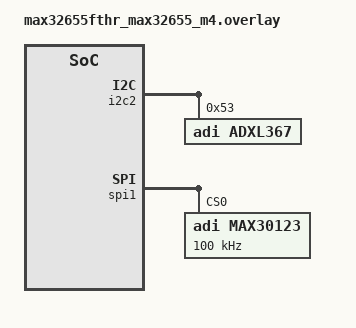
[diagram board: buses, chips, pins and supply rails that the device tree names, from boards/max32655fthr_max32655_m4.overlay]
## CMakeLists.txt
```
# Copyright (c) 2024 Analog Devices, Inc.
#
# SPDX-License-Identifier: Apache-2.0

cmake_minimum_required(VERSION 3.20.0)
find_package(Zephyr REQUIRED HINTS $ENV{ZEPHYR_BASE})
project(adi_cgm)

target_sources(app PRIVATE
  src/main.c
  src/database.c
  src/services/accs.c
  src/services/bas_monitor.c
  src/services/ecs_monitor.c
  src/services/adi_shell.c
  src/led_ind/led_ind.c
)
```

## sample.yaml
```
sample:
  name: ADI Continuous Glucose Monitor Reference Design
  description: Demonstrates an example CGM device using Zephyr
tests:
  sample.adi.cgm:
    harness: bluetooth
    platform_allow:
      - max32655fthr/max32655/m4
      - max32657evkit/max32657
    tags: bluetooth
    integration_platforms:
      - max32655fthr/max32655/m4
      - max32657evkit/max32657
```

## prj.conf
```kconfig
# Copyright (c) 2024 Analog Devices, Inc.
#
# SPDX-License-Identifier: Apache-2.0

# Increased stack due to settings API usage
CONFIG_SYSTEM_WORKQUEUE_STACK_SIZE=2048
CONFIG_MAIN_STACK_SIZE=2048
CONFIG_INIT_STACKS=y
CONFIG_THREAD_STACK_INFO=y
CONFIG_THREAD_NAME=y

# Bluetooth config
CONFIG_BT=y
CONFIG_LOG=y
CONFIG_LOG_MODE_IMMEDIATE=y
CONFIG_BT_SMP=y
CONFIG_BT_GATT_CLIENT=y
CONFIG_BT_SIGNING=y
CONFIG_BT_PERIPHERAL=y
CONFIG_BT_ATT_PREPARE_COUNT=5
CONFIG_BT_PRIVACY=y
CONFIG_BT_KEYS_OVERWRITE_OLDEST=y
CONFIG_BT_SETTINGS=y
CONFIG_FLASH=y
CONFIG_FLASH_MAP=y
CONFIG_NVS=y
CONFIG_SETTINGS=y
CONFIG_BT_BONDABLE=y
CONFIG_BT_MAX_CONN=1
CONFIG_BT_FIXED_PASSKEY=y

# DIS config
CONFIG_BT_DIS=y
CONFIG_BT_DEVICE_NAME="ADI CGM"
CONFIG_BT_DEVICE_NAME_DYNAMIC=y
CONFIG_BT_DIS_MANUF="Analog Devices, Inc."
CONFIG_BT_DIS_MODEL="MAX32xxx CGM"
CONFIG_BT_DIS_HW_REV=y
CONFIG_BT_DIS_HW_REV_STR="RevA"
CONFIG_BT_DIS_FW_REV=y
CONFIG_BT_DIS_FW_REV_STR="Ver 0.4"
CONFIG_BT_DIS_SW_REV=y
CONFIG_BT_DIS_SW_REV_STR="Ver 0.2"
CONFIG_BT_DIS_UDI=y
CONFIG_BT_DIS_UDI_LABEL_STR="Zephyr Test UDI Label"
CONFIG_BT_DIS_UDI_DI_STR="(01)0123456789ABCD(11)241125(17)341125(10)A1234(21)0123456789"
CONFIG_BT_DIS_UDI_ISSUER_STR="1.3.6.1.4.1.99999"
CONFIG_BT_DIS_UDI_AUTHORITY_STR="1.3.6.1.4.1.99999"

# BAS config
CONFIG_BT_BAS=y

# CGMS config
CONFIG_BT_CGMS=y
CONFIG_BT_CGMS_INTERVAL=1
CONFIG_BT_CGMS_TYPE=9
CONFIG_BT_CGMS_SAMPLE_LOCATION=5
CONFIG_BT_CGMS_EXPECTED_RUNTIME=170
CONFIG_BT_CGMS_LOG_LEVEL_DBG=y

# Shell config
CONFIG_SHELL=y
CONFIG_SHELL_BACKEND_SERIAL_INIT_PRIORITY=10
CONFIG_SHELL_BACKEND_BLE=y
CONFIG_SHELL_BACKEND_BLE_DEBUG=n

# Sensor config
CONFIG_SENSOR=y
CONFIG_I3C=y
CONFIG_ADXL367=y
CONFIG_MAX30123=y
```

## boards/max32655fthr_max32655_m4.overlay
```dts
/*
 * Copyright (c) 2024 Analog Devices, Inc.
 *
 * SPDX-License-Identifier: Apache-2.0
 */

/ {
	aliases {
		pb = &pb2;
		led = &led3;
	};
};

&sram2 {
	reg = <0x20010000 DT_SIZE_K(64)>;
};

i2c: &i2c2 {
	adxl367: adxl367@53 {
		compatible = "adi,adxl367";
		reg = <0x53>;
		status = "okay";
	};
};

spi: &spi1 {
	max30123: max30123@0 {
		compatible = "adi,max30123";
		reg = <0x0>;
		status = "okay";
		spi-max-frequency = <DT_FREQ_K(100)>;
		auto-clk-div = <10240>;
		daca-code = <1000>;
		dacb-code = <1000>;
		dac-enable;
		we1-amp-enable;
		we1-swb;
		we1-ios-mode;
		we1-offset-sel = <2>;
		adc-fs-we1 = <1>;
		gr1-enable;
		m0-mode = <1>;
		m1-mode = <1>;
		m0-i-conv-type = <2>;
		m0-conv-time = <5>;
		m1-i-conv-type = <2>;
		m1-conv-time = <5>;
		auto;
		convert;
	};
};
```

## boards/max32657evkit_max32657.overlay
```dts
/*
 * Copyright (c) 2024 Analog Devices, Inc.
 *
 * SPDX-License-Identifier: Apache-2.0
 */

/ {
	aliases {
		pb = &pb1;
		led = &led1;
	};
};

&i3c0 {
	adxl367: adxl367@530000000000000000 {
		compatible = "adi,adxl367";
		reg = <0x53 0x00 0x00>;
		status = "okay";
	};
};
```

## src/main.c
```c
/*
 * Copyright (C) 2024 Analog Devices, Inc.
 *
 * SPDX-License-Identifier: Apache-2.0
 */

#include <zephyr/kernel.h>
#include <zephyr/logging/log.h>
#include <zephyr/device.h>
#include <zephyr/devicetree.h>
#include <zephyr/settings/settings.h>
#include <zephyr/bluetooth/bluetooth.h>
#include <zephyr/bluetooth/hci.h>
#include <zephyr/bluetooth/gap.h>
#include <zephyr/bluetooth/uuid.h>
#include <zephyr/bluetooth/gatt.h>
#include <zephyr/bluetooth/conn.h>
#include <zephyr/bluetooth/services/cgms.h>
#include <zephyr/drivers/sensor.h>
#include <zephyr/drivers/gpio.h>

#include "services/accs.h"
#include "services/ecs_monitor.h"
#include "led_ind/led_ind.h"
#include "database.h"

LOG_MODULE_REGISTER(adi_cgm, LOG_LEVEL_INF);

/* GPIO */
#define BUTTON_NODE DT_ALIAS(pb)
static const struct gpio_dt_spec button = GPIO_DT_SPEC_GET_OR(BUTTON_NODE, gpios, {0});
static struct gpio_callback button_cb_data;
K_SEM_DEFINE(button_sem, 0, 1);

/* Next glucose reading */
static uint16_t glucose_concentration;

/* Bluetooth declarations */
#define FIXED_PASSKEY 555555
static bt_addr_le_t stored_bond;
static struct bt_conn *active_conn;

static const struct bt_data ad[] = {
	BT_DATA_BYTES(BT_DATA_FLAGS, (BT_LE_AD_GENERAL | BT_LE_AD_NO_BREDR)),
	BT_DATA_BYTES(BT_DATA_UUID16_ALL, BT_UUID_16_ENCODE(BT_UUID_CGMS_VAL),
		      BT_UUID_16_ENCODE(BT_UUID_DIS_VAL))};

static const struct bt_data sd[] = {
	BT_DATA(BT_DATA_NAME_COMPLETE, CONFIG_BT_DEVICE_NAME, sizeof(CONFIG_BT_DEVICE_NAME) - 1),
};

static void bond_info(const struct bt_bond_info *info, void *user_data);
static void on_connected(struct bt_conn *conn, uint8_t err)
{
	if (err) {
		LOG_INF("Connection failed (err %u)", err);
		return;
	}

	char addr[BT_ADDR_LE_STR_LEN];

	bt_addr_le_to_str(bt_conn_get_dst(conn), addr, sizeof(addr));

	LOG_INF("Connected: %s", addr);

	active_conn = bt_conn_ref(conn);

	const bt_addr_le_t tmp_addr = {0};

	bt_foreach_bond(BT_ID_DEFAULT, bond_info, (void *)&tmp_addr);

	/* Check if this connection is our bonded device */
	if (!bt_addr_le_cmp(&tmp_addr, bt_conn_get_dst(conn))) {
		LOG_INF("Connected to bonded device");
		set_led_state(LED_IND_CONNECTED);
		return;
	} else if (!bt_addr_le_cmp(&tmp_addr, BT_ADDR_LE_ANY)) {
		LOG_INF("No bonded device, pairing with new device");
		bt_conn_set_security(conn, BT_SECURITY_L4);
	} else {
		LOG_INF("Unknown device, disconnecting");
		bt_conn_disconnect(conn, BT_HCI_ERR_REMOTE_USER_TERM_CONN);
	}
}

static void on_disconnected(struct bt_conn *conn, uint8_t reason)
{
	LOG_INF("Disconnected (reason %u)", reason);

	set_led_state(LED_IND_SEARCHING);

	bt_conn_unref(active_conn);
	active_conn = NULL;
}

static void on_recycled(void)
{
	int err = bt_le_adv_start(BT_LE_ADV_CONN_FAST_1, ad, ARRAY_SIZE(ad), sd, ARRAY_SIZE(sd));

	if (err) {
		LOG_WRN("Advertising failed to start (err %d)", err);
	}
}

/* Callback structs/definitions */
BT_CONN_CB_DEFINE(conn_callbacks) = {
	.connected = on_connected,
	.disconnected = on_disconnected,
	.recycled = on_recycled,
};

static void auth_passkey_display(struct bt_conn *conn, unsigned int passkey)
{
	char addr[BT_ADDR_LE_STR_LEN];

	bt_addr_le_to_str(bt_conn_get_dst(conn), addr, sizeof(addr));

	LOG_INF("Passkey for %s: %06u", addr, passkey);
}

static void auth_cancel(struct bt_conn *conn)
{
	char addr[BT_ADDR_LE_STR_LEN];

	bt_addr_le_to_str(bt_conn_get_dst(conn), addr, sizeof(addr));

	LOG_INF("Auth cancelled %s", addr);
}

static struct bt_conn_auth_cb auth_cb_display = {
	.passkey_display = auth_passkey_display,
	.cancel = auth_cancel,
};

static void pairing_complete(struct bt_conn *conn, bool bonded)
{
	char addr[BT_ADDR_LE_STR_LEN];

	bt_addr_le_to_str(bt_conn_get_dst(conn), addr, sizeof(addr));

	if (bonded) {
		LOG_INF("Paired with %s", addr);
		bt_addr_le_copy(&stored_bond, bt_conn_get_dst(conn));
		set_led_state(LED_IND_CONNECTED);
	} else {
		LOG_INF("Pairing failed with %s", addr);
	}
}

static void pairing_failed(struct bt_conn *conn, enum bt_security_err reason)
{
	char addr[BT_ADDR_LE_STR_LEN];

	bt_addr_le_to_str(bt_conn_get_dst(conn), addr, sizeof(addr));

	bt_conn_disconnect(conn, BT_HCI_ERR_AUTH_FAIL);

	LOG_INF("Pairing failed with %s (reason %u)", addr, reason);
}

static void bond_deleted(uint8_t id, const bt_addr_le_t *peer)
{
	char addr[BT_ADDR_LE_STR_LEN];

	bt_addr_le_to_str(peer, addr, sizeof(addr));

	LOG_INF("Bond deleted: %s", addr);
}

static struct bt_conn_auth_info_cb auth_cb_info = {
	.pairing_complete = pairing_complete,
	.pairing_failed = pairing_failed,
	.bond_deleted = bond_deleted,
};

static void bond_info(const struct bt_bond_info *info, void *user_data)
{
	char addr[BT_ADDR_LE_STR_LEN];

	bt_addr_le_to_str(&(info->addr), addr, sizeof(addr));

	LOG_INF("Loading Bonded Device: %s", addr);
	bt_addr_le_copy((bt_addr_le_t *)user_data, &info->addr);
}

static int clear_bonds(void)
{
	int err;

	err = bt_unpair(BT_ID_DEFAULT, BT_ADDR_LE_ANY);
	if (err) {
		LOG_ERR("Failed to clear bonds (err %d)", err);
		return -1;
	}

	bt_addr_le_copy(&stored_bond, BT_ADDR_LE_ANY);

	if (active_conn) {
		bt_conn_unref(active_conn);
		active_conn = NULL;
	}

	return 0;
}

static void activate_pairing(void)
{
	int err = 0;
	int reset = active_conn ? 0 : 1;

	/* Clear bonds if any exist */
	if (bt_addr_le_cmp(&stored_bond, BT_ADDR_LE_ANY)) {
		if (clear_bonds()) {
			LOG_ERR("Failed to clear bonds");
			return;
		}
	}

	if (reset) {
		err = bt_le_adv_start(BT_LE_ADV_CONN_FAST_1, ad, ARRAY_SIZE(ad), sd,
				      ARRAY_SIZE(sd));
	}

	if (err) {
		switch (err) {
		case -ENOMEM:
			err = bt_le_adv_stop();
			if (err) {
				LOG_ERR("Failed to stop advertising (err %d)", err);
				return;
			}
			err = bt_le_adv_start(BT_LE_ADV_CONN_FAST_1, ad, ARRAY_SIZE(ad), sd,
						ARRAY_SIZE(sd));
			if (err) {
				LOG_ERR("Failed to start advertising after stop (err %d)", err);
				return;
			}
		break;
		case -EALREADY:
			/* Do nothing, already advertising */
		break;
		default:
			LOG_ERR("Advertising failed to start (err %d)", err);
			return;
		}
	}

	set_led_state(LED_IND_SEARCHING);

	LOG_INF("Pairing activated");
}

/* Glucose Concetration Getter Callback */
static int get_glucose(uint16_t *glucose_conc)
{
	*glucose_conc = glucose_concentration;
	return 0;
}

static void button_pressed(const struct device *dev, struct gpio_callback *cb, uint32_t pins)
{
	k_sem_give(&button_sem);
}

static int init_button(void)
{
	int err;

	err = gpio_is_ready_dt(&button);
	if (!err) {
		LOG_ERR("Button not ready");
		return -1;
	}

	err = gpio_pin_configure_dt(&button, GPIO_INPUT);
	if (err) {
		LOG_ERR("Button failed to configure");
		return err;
	}

	err = gpio_pin_interrupt_configure_dt(&button, GPIO_INT_EDGE_TO_ACTIVE);
	if (err) {
		LOG_ERR("Failed to configure interrupt on %s pin %d\n", button.port->name,
			button.pin);
		return err;
	}

	gpio_init_callback(&button_cb_data, button_pressed, BIT(button.pin));

	err = gpio_add_callback(button.port, &button_cb_data);
	if (err) {
		LOG_ERR("Failed to add callback");
		return err;
	}

	return 0;
}

static int init_bt(void)
{
	int err;

	err = bt_enable(NULL);
	if (err) {
		LOG_ERR("Bluetooth init failed (err %d)", err);
		return err;
	}

	if (IS_ENABLED(CONFIG_SETTINGS)) {
		err = settings_load();
		if (err) {
			LOG_ERR("Failed to load settings!");
			return err;
		}
	}

	/* Copy restored bond data to global variable */
	bt_foreach_bond(BT_ID_DEFAULT, bond_info, (void *)&stored_bond);

#ifdef CONFIG_BT_FIXED_PASSKEY
	err = bt_passkey_set(FIXED_PASSKEY);
	if (err) {
		LOG_ERR("Failed to set fixed passkey!");
		return err;
	}
#endif

	err = bt_conn_auth_cb_register(&auth_cb_display);
	if (err) {
		LOG_ERR("Failed to register auth display callback!");
		return err;
	}

	err = bt_conn_auth_info_cb_register(&auth_cb_info);
	if (err) {
		LOG_ERR("Failed to register auth info callback!");
		return err;
	}

	err = bt_set_name(CONFIG_BT_DEVICE_NAME);
	if (err) {
		LOG_ERR("Unable to set device name!");
		return err;
	}

	err = bt_le_adv_start(BT_LE_ADV_CONN_FAST_1, ad, ARRAY_SIZE(ad), sd, ARRAY_SIZE(sd));
	if (err) {
		LOG_ERR("Advertising failed to start (err %d)", err);
		return err;
	}

	return 0;
}

static int init_sensors(void)
{
	int err;

	err = device_is_ready(adxl367_dev);
	if (!err) {
		LOG_INF("sensor: adxl367_dev not ready. (err %d)", err);
		return -1;
	}

	err = device_is_ready(max30123_dev);
	if (!err) {
		LOG_INF("sensor: max30123_dev not ready. (err %d)", err);
		return -1;
	}

	return 0;
}

static int init_peripherals(void)
{
	int err;

	err = init_button();
	if (err) {
		return err;
	}

	err = init_sensors();
	if (err) {
		return err;
	}

	err = init_bt();
	if (err) {
		return err;
	}

	return 0;
}

int main(void)
{
	int err;

	err = k_thread_name_set(k_current_get(), "main");
	if (err) {
		LOG_ERR("Failed to set thread name");
		return err;
	}

	/* 1. Initialize peripherals */
	err = init_peripherals();
	if (err) {
		LOG_ERR("Failed initializing pheripherals");
		return -1;
	}
	set_led_state(LED_IND_DEV_READY);

	/* 2. Activate BLE connectivity, and load bonded device */
	char addr[BT_ADDR_LE_STR_LEN];

	bt_addr_le_to_str(&stored_bond, addr, sizeof(addr));
	LOG_INF("Loaded Bonded Device: %s", addr);

	/* 3. Initialize services */
	init_ecs_monitor_thread(&glucose_concentration);

	struct bt_cgms_callbacks cgms_callbacks = {
		.get_glucose_conc_cb = get_glucose,
		.add_record_cb = db_add_record,
		.get_record_cb = db_get_record,
	};

	err = bt_cgms_init(cgms_callbacks);
	if (err) {
		LOG_ERR("Unable to initialize CGMS (err %d)", err);
		return err;
	}

	/* 4. Set LED indicator to search */
	set_led_state(LED_IND_SEARCHING);

	while (1) {
		k_sem_take(&button_sem, K_FOREVER);
		activate_pairing();
	}
}
```

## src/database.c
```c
/*
 * Copyright (c) 2024 Analog Devices, Inc.
 *
 * SPDX-License-Identifier: Apache-2.0
 */

#include <errno.h>
#include <zephyr/kernel.h>
#include <zephyr/logging/log.h>

#include "database.h"

LOG_MODULE_REGISTER(database, CONFIG_BT_SERVICE_LOG_LEVEL);

#define MAX_NUM_RECORDS 400

static cgm_measurement_t database[MAX_NUM_RECORDS] = {0};
static uint16_t curr_idx;

int db_add_record(const cgm_measurement_t record)
{
	if (curr_idx >= MAX_NUM_RECORDS) {
		curr_idx = 0;
	}

	database[curr_idx] = record;
	curr_idx++;

	return 0;
}

int db_get_record(cgm_measurement_t *record, uint16_t record_idx)
{
	if (record_idx > curr_idx) {
		LOG_ERR("Record index: %d out of bounds > %d", record_idx, curr_idx);
		return -EINVAL;
	}

	*record = database[record_idx];

	return 0;
}
```
